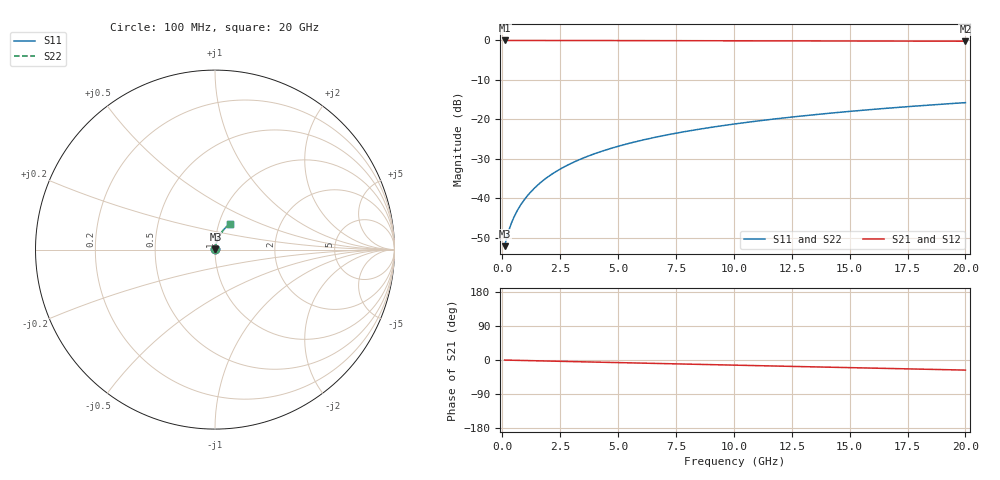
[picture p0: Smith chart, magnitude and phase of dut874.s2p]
! Touchstone file exported from HFSS 2026.1.0
!  File:  C:/ffzhzh/LocalFiles/Ansys_Project_Files/temp_train_TMRDL_874_1783157357_22436.aedt
!  Generated:  05:30:26 PM Jul  4, 2026
!  Design:  TMRDL
!  Project:  temp_train_TMRDL_874_1783157357_22436
! Variables:
!  h_bsmrdl = 2um
!  h_ox = 20um
!  h_rdl = 5um
!  h_sub = 80um
!  h_tmrdl = 4.01um
!  h_tsv = 80um
!  h_via = 3um
!  l_bsmrdl = 300um
!  l_sub = 832.73um
!  l_tmrdl = 432.73um
!  m_sub = 200um
!  pitch = 30.09um
!  r_tsv = 6um
!  s_tmrdl = 10um
!  w_bsmrdl = 18um
!  w_sub = 500um
!  w_tmrdl = 18.93um
!  x_tsv_center1 = 442.195um
!  x_tsv_center2 = 760.195um
!  x_tsv_center3 = 1211.855um
!  x_tsv_center4 = 1529.855um
!  x_tsv_center5 = 1981.515um
!  x_tsv_center6 = 2299.515um
# GHz S MA R 50.000000
! Terminal data exported
! Port[1] = TM_RDL1_1_T1
! Port[2] = TM_RDL1_1_T2
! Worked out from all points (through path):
!   200 points, 100 MHz to 20 GHz, reference 50 ohm
!   highest |S21| = -0.02 dB at 100 MHz (marker M1); lowest = -0.2 dB at 20 GHz (marker M2)
!   group delay of S21, straight-line fit = 3.69 ps
!   lowest |S11| = -52.1 dB at 100 MHz (marker M3), VSWR 1.00, Z = 50.2 + j0.115 ohm
!   |S11| at or under -10 dB: start of sweep to end of sweep
!   |S22| runs from -52.1 to -15.8 dB; largest |S21 - S12| = 3.9e-15
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0.1  0.002488 27.4  0.9978 -0.2  0.9978 -0.2  0.002488 27.4
! Gamma 0 0 0 0
! Port Impedance 50 0 50 0
0.2  0.003233 43.2  0.9976 -0.3  0.9976 -0.3  0.003233 43.3
0.3  0.004076 51.8  0.9975 -0.4  0.9975 -0.4  0.004076 51.8
0.4  0.004923 57.2  0.9974 -0.6  0.9974 -0.6  0.004925 57.2
0.5  0.005766 61.0  0.9973 -0.7  0.9973 -0.7  0.005768 61.1
0.6  0.00661 64.0  0.9972 -0.9  0.9972 -0.9  0.006613 64.0
0.8  0.008318 68.3  0.9971 -1.1  0.9971 -1.1  0.008321 68.3
1  0.01006 71.2  0.997 -1.4  0.997 -1.4  0.01006 71.2
1.2  0.01182 73.2  0.9969 -1.7  0.9969 -1.7  0.01182 73.2
1.4  0.0136 74.7  0.9968 -2.0  0.9968 -2.0  0.01361 74.7
1.7  0.0163 76.1  0.9967 -2.4  0.9967 -2.4  0.0163 76.1
2.2  0.02081 77.4  0.9964 -3.1  0.9964 -3.1  0.02081 77.4
2.8  0.02622 78.0  0.996 -3.9  0.996 -3.9  0.02622 78.0
3.5  0.03248 78.0  0.9954 -4.8  0.9954 -4.8  0.03248 78.0
4.2  0.03868 77.6  0.9948 -5.8  0.9948 -5.8  0.03868 77.6
5  0.04566 77.0  0.9941 -6.9  0.9941 -6.9  0.04566 77.0
6.8  0.06102 75.1  0.9922 -9.3  0.9922 -9.3  0.06102 75.1
8.3  0.07348 73.5  0.9906 -11.3  0.9906 -11.3  0.07348 73.5
10.1  0.0881 71.4  0.9886 -13.7  0.9886 -13.7  0.0881 71.4
13.4  0.1141 67.6  0.9847 -18.1  0.9847 -18.1  0.1141 67.5
16.7  0.1391 63.6  0.9805 -22.4  0.9805 -22.4  0.1391 63.6
20  0.1629 59.7  0.976 -26.6  0.976 -26.6  0.1629 59.6
